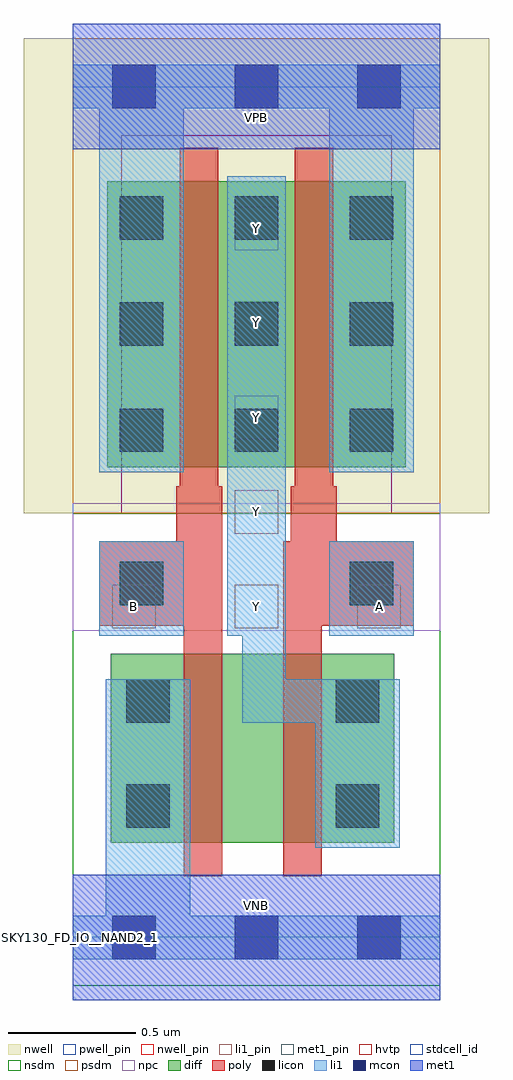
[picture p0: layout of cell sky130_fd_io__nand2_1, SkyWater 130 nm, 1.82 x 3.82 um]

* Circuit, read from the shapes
.subckt sky130_fd_io__nand2_1 A B VGND VNB VPB VPWR Y
XM1 n1 B VGND VNB sky130_fd_pr__nfet_01v8 w=0.74 l=0.15
XM2 Y A n1 VNB sky130_fd_pr__nfet_01v8 w=0.74 l=0.15
XM3 Y B VPWR VPB sky130_fd_pr__pfet_01v8_hvt w=1.12 l=0.15
XM4 VPWR A Y VPB sky130_fd_pr__pfet_01v8_hvt w=1.12 l=0.15
.ends

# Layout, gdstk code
import gdstk
lib = gdstk.Library(unit=1e-6, precision=1e-09)
def R(c, l, rs):  # rectangles x0, y0, x1, y1
    for r in rs: c.add(gdstk.rectangle(r[:2], r[2:], *l))
def A(c, l, x, y, w, h, nx, ny, dx, dy):  # array of equal rectangles
    R(c, l, [(x+i*dx, y+j*dy, x+i*dx+w, y+j*dy+h) for i in range(nx) for j in range(ny)])
def P(c, l, *ps):  # polygons
    for p in ps: c.add(gdstk.Polygon(p, *l))
nwell_pin = (64, 16)
nwell = (64, 20)
diff = (65, 20)
poly = (66, 20)
licon = (66, 44)
li1_pin = (67, 16)
li1 = (67, 20)
mcon = (67, 44)
met1_pin = (68, 16)
met1 = (68, 20)
hvtp = (78, 44)
stdcell_id = (81, 4)
nsdm = (93, 44)
psdm = (94, 20)
npc = (95, 20)
pwell_pin = (122, 16)

sky130_fd_io__nand2_1 = lib.new_cell('sky130_fd_io__nand2_1')
R(sky130_fd_io__nand2_1, nwell_pin, [(0,3.085,1.44,3.33)])
R(sky130_fd_io__nand2_1, nwell, [(-0.19,1.66,1.63,3.52)])
R(sky130_fd_io__nand2_1, diff, [(0.15,0.37,1.26,1.11), (0.135,1.84,1.305,2.96)])
P(sky130_fd_io__nand2_1, poly, [(1.335,1.55),(1.035,1.55),(1.035,1.765),(1.02,1.765),(1.02,3.09),(0.87,3.09),(0.87,1.765),(0.855,1.765),(0.855,1.55),(0.825,1.55),(0.825,0.24),(0.975,0.24),(0.975,1.22),(1.335,1.22)],
  [(0.585,1.765),(0.57,1.765),(0.57,3.09),(0.42,3.09),(0.42,1.765),(0.405,1.765),(0.405,1.55),(0.105,1.55),(0.105,1.22),(0.435,1.22),(0.435,0.24),(0.585,0.24)])
A(sky130_fd_io__nand2_1, licon, 0.185, 1.9, 0.17, 0.17, 3, 3, 0.45, 0.415)
R(sky130_fd_io__nand2_1, licon, [(0.21,0.43,0.38,0.6), (1.03,0.43,1.2,0.6), (0.21,0.84,0.38,1.01), (1.03,0.84,1.2,1.01), (0.185,1.3,0.355,1.47), (1.085,1.3,1.255,1.47)])
A(sky130_fd_io__nand2_1, li1_pin, 0.155, 1.21, 0.17, 0.17, 3, 1, 0.48, 0)
A(sky130_fd_io__nand2_1, li1_pin, 0.635, 1.58, 0.17, 0.17, 1, 4, 0, 0.37)
R(sky130_fd_io__nand2_1, li1, [(0.105,1.18,0.435,1.55), (1.005,1.18,1.335,1.55)])
P(sky130_fd_io__nand2_1, li1, [(0,-0.085),(0,0.085),(0.13,0.085),(0.13,1.01),(0.46,1.01),(0.46,0.085),(1.44,0.085),(1.44,-0.085)],
  [(0,3.245),(0,3.415),(1.44,3.415),(1.44,3.245),(1.335,3.245),(1.335,1.82),(1.005,1.82),(1.005,3.245),(0.435,3.245),(0.435,1.82),(0.105,1.82),(0.105,3.245)],
  [(0.665,1.18),(0.605,1.18),(0.605,2.98),(0.835,2.98),(0.835,1.01),(1.28,1.01),(1.28,0.35),(0.95,0.35),(0.95,0.84),(0.665,0.84)])
A(sky130_fd_io__nand2_1, mcon, 0.155, -0.085, 0.17, 0.17, 3, 2, 0.48, 3.33)
R(sky130_fd_io__nand2_1, met1_pin, [(0,0,1.44,0.245), (0,3.085,1.44,3.33)])
R(sky130_fd_io__nand2_1, met1, [(0,-0.245,1.44,0.245), (0,3.085,1.44,3.575)])
R(sky130_fd_io__nand2_1, hvtp, [(0.19,1.66,1.25,3.14)])
R(sky130_fd_io__nand2_1, stdcell_id, [(0,0,1.44,3.33)])
R(sky130_fd_io__nand2_1, nsdm, [(0,-0.19,1.44,1.66)])
R(sky130_fd_io__nand2_1, psdm, [(0,1.66,1.44,3.52)])
R(sky130_fd_io__nand2_1, npc, [(0,1.2,1.44,1.7)])
R(sky130_fd_io__nand2_1, pwell_pin, [(0,0,1.44,0.245)])
sky130_fd_io__nand2_1.add(gdstk.Label('SKY130_FD_IO__NAND2_1', (0,0), layer=83, texttype=44))
sky130_fd_io__nand2_1.add(gdstk.Label('VNB', (0.72,0.123), layer=64, texttype=59))
sky130_fd_io__nand2_1.add(gdstk.Label('VPB', (0.72,3.208), layer=64, texttype=5))
sky130_fd_io__nand2_1.add(gdstk.Label('VPWR', (0.72,3.208), layer=68, texttype=5))
sky130_fd_io__nand2_1.add(gdstk.Label('VGND', (0.72,0.123), layer=68, texttype=5))
sky130_fd_io__nand2_1.add(gdstk.Label('B', (0.24,1.295), layer=67, texttype=5))
sky130_fd_io__nand2_1.add(gdstk.Label('Y', (0.72,1.295), layer=67, texttype=5))
sky130_fd_io__nand2_1.add(gdstk.Label('Y', (0.72,1.665), layer=67, texttype=5))
sky130_fd_io__nand2_1.add(gdstk.Label('Y', (0.72,2.035), layer=67, texttype=5))
sky130_fd_io__nand2_1.add(gdstk.Label('Y', (0.72,2.405), layer=67, texttype=5))
sky130_fd_io__nand2_1.add(gdstk.Label('Y', (0.72,2.775), layer=67, texttype=5))
sky130_fd_io__nand2_1.add(gdstk.Label('A', (1.2,1.295), layer=67, texttype=5))

lib.write_gds('sky130_fd_io__nand2_1.gds')
